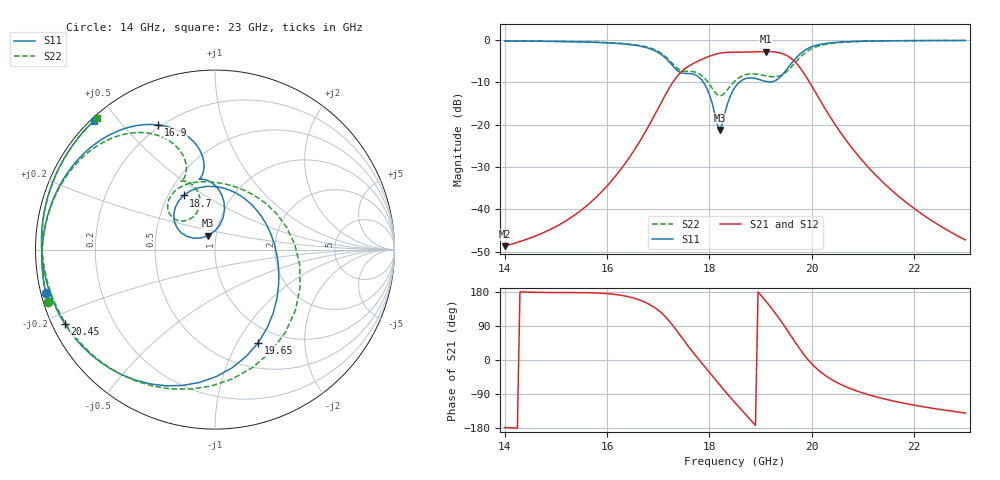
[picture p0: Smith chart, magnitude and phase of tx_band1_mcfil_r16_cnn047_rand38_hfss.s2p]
! Touchstone file exported from HFSS 3D Layout Design 2026.1.0
!  File:  D:/Work/SIM/ADS_AUTO_SIM/projects/RFSOC_RF/TX_Fillter.aedt
!  Generated:  12:51:00 AM Aug 31, 2026
!  Design:  TX_BAND1_MCFIL_R16_CNN047
!  Project:  TX_Fillter
# GHz S MA R 50.000000
! Terminal data exported
! Port[1] = Port1
! Port[2] = Port2
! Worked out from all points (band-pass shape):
!   181 points, 14 GHz to 23 GHz, reference 50 ohm
!   highest |S21| = -2.75 dB at 19.1 GHz (marker M1); lowest = -48.7 dB at 14 GHz (marker M2)
!   |S21| within 3 dB of the highest: 17.66 GHz to 19.72 GHz (2.057 GHz wide, 11 % of centre)
!   lowest |S11| = -21.2 dB at 18.2 GHz (marker M3), VSWR 1.19, Z = 45.8 + j7.21 ohm
!   |S11| at or under -10 dB: 17.88 GHz to 18.58 GHz (703.4 MHz wide, 3.86 % of centre)
!   |S22| runs from -13.2 to -0.1 dB; largest |S21 - S12| = 3.1e-14
!   S11 on the Smith chart (normalised r, x): 14 GHz: 0.01, -0.13; 16.9 GHz: 0.19, +0.63; 18.7 GHz: 0.60, +0.41; 19.65 GHz: 0.79, -1.23; 20.45 GHz: 0.04, -0.23; 23 GHz: 0.01, +0.43
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14  0.973 -165.7  0.003693 -178.1  0.003693 -178.1  0.9745 -162.5
15.5  0.946 164.1  0.009849 177.9  0.009849 177.9  0.9502 168.8
16.3  0.8982 141.2  0.03146 170.1  0.03146 170.1  0.907 147.5
16.9  0.7627 114.4  0.1199 141.1  0.1199 141.1  0.7809 123.3
17  0.7112 108.7  0.1558 131.5  0.1558 131.5  0.7319 118.2
17.25  0.5217 97.5  0.2928 97.3  0.2928 97.3  0.5481 108.6
17.5  0.4024 102.5  0.4462 51.8  0.4462 51.8  0.4262 115.2
17.85  0.3359 86.5  0.5887 -7.9  0.5887 -7.9  0.3796 108.8
18.2  0.08672 115.8  0.6955 -65.2  0.6955 -65.2  0.2188 124.6
18.5  0.2769 145.0  0.7164 -112.8  0.7164 -112.8  0.3277 141.4
18.7  0.3486 120.1  0.7167 -142.6  0.7167 -142.6  0.3878 129.3
18.9  0.351 88.9  0.7226 -172.4  0.7226 -172.4  0.3961 112.7
19.1  0.3232 49.9  0.7287 155.9  0.7287 155.9  0.3771 92.6
19.4  0.3741 -18.2  0.6961 102.5  0.6961 102.5  0.3824 42.7
19.65  0.5724 -65.3  0.5682 52.2  0.5682 52.2  0.5182 -23.7
19.85  0.7448 -96.6  0.4009 13.7  0.4009 13.7  0.6893 -72.2
20  0.8309 -115.8  0.2857 -10.1  0.2857 -10.1  0.7885 -99.7
20.2  0.895 -135.6  0.1777 -34.5  0.1777 -34.5  0.8686 -126.2
20.45  0.9335 -153.6  0.1017 -56.5  0.1017 -56.5  0.9193 -148.7
20.85  0.96 -173.5  0.0474 -80.3  0.0474 -80.3  0.9544 -172.0
21.5  0.976 164.9  0.01815 -105.4  0.01815 -105.4  0.9746 164.5
23  0.9849 133.3  0.004376 -140.0  0.004376 -140.0  0.9848 132.0
